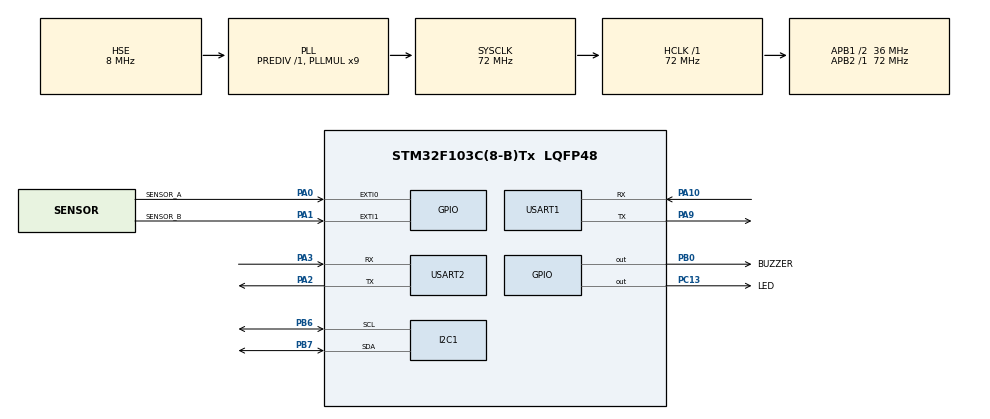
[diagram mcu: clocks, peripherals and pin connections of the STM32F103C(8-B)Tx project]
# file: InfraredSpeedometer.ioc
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FREERTOS.INCLUDE_xTaskGetCurrentTaskHandle=1
FREERTOS.Tasks01=defaultTask,24,128,StartDefaultTask,Default,NULL,Dynamic,NULL,NULL
FREERTOS.configTOTAL_HEAP_SIZE=5120
I2C1.I2C_Mode=I2C_Standard
Mcu.Family=STM32F1
Mcu.Name=STM32F103C(8-B)Tx
Mcu.Package=LQFP48
NVIC.EXTI0_IRQn=true\:5\:0\:false\:false\:true\:true\:true\:true\:true
NVIC.EXTI1_IRQn=true\:5\:0\:false\:false\:true\:true\:true\:true\:true
NVIC.PriorityGroup=NVIC_PRIORITYGROUP_4
NVIC.TIM2_IRQn=true\:6\:0\:true\:false\:true\:true\:true\:true\:true
NVIC.TIM4_IRQn=true\:15\:0\:false\:false\:true\:false\:false\:true\:true
NVIC.TimeBase=TIM4_IRQn
NVIC.TimeBaseIP=TIM4
NVIC.USART1_IRQn=true\:7\:0\:true\:false\:true\:true\:true\:true\:true
NVIC.USART2_IRQn=true\:6\:0\:true\:false\:true\:true\:true\:true\:true
PA0-WKUP.GPIO_Label=SENSOR_A
PA0-WKUP.GPIO_ModeDefaultEXTI=GPIO_MODE_IT_FALLING
PA0-WKUP.GPIO_PuPd=GPIO_PULLUP
PA0-WKUP.Signal=GPXTI0
PA1.GPIO_Label=SENSOR_B
PA1.GPIO_ModeDefaultEXTI=GPIO_MODE_IT_FALLING
PA1.GPIO_PuPd=GPIO_PULLUP
PA1.Signal=GPXTI1
PA10.Mode=Asynchronous
PA10.Signal=USART1_RX
PA13.Mode=Serial_Wire
PA13.Signal=SYS_JTMS-SWDIO
PA14.Mode=Serial_Wire
PA14.Signal=SYS_JTCK-SWCLK
PA2.Mode=Asynchronous
PA2.Signal=USART2_TX
PA3.Mode=Asynchronous
PA3.Signal=USART2_RX
PA9.Mode=Asynchronous
PA9.Signal=USART1_TX
PB0.GPIO_Label=BUZZER
PB0.GPIO_ModeDefaultOutputPP=GPIO_MODE_OUTPUT_PP
PB0.Signal=GPIO_Output
PB6.Mode=I2C
PB6.Signal=I2C1_SCL
PB7.Mode=I2C
PB7.Signal=I2C1_SDA
PC13-TAMPER-RTC.GPIO_Label=LED
PC13-TAMPER-RTC.PinState=GPIO_PIN_SET
PC13-TAMPER-RTC.Signal=GPIO_Output
PD0-OSC_IN.Mode=HSE-External-Oscillator
PD0-OSC_IN.Signal=RCC_OSC_IN
PD1-OSC_OUT.Mode=HSE-External-Oscillator
PD1-OSC_OUT.Signal=RCC_OSC_OUT
ProjectManager.HeapSize=0x200
ProjectManager.StackSize=0x400
ProjectManager.TargetToolchain=MDK-ARM V5
RCC.AHBFreq_Value=72000000
RCC.APB1CLKDivider=RCC_HCLK_DIV2
RCC.APB1Freq_Value=36000000
RCC.APB1TimFreq_Value=72000000
RCC.APB2Freq_Value=72000000
RCC.APB2TimFreq_Value=72000000
RCC.HCLKFreq_Value=72000000
RCC.PLLMUL=RCC_PLL_MUL9
RCC.PLLSourceVirtual=RCC_PLLSOURCE_HSE
RCC.SYSCLKFreq_VALUE=72000000
RCC.SYSCLKSource=RCC_SYSCLKSOURCE_PLLCLK
RCC.USBFreq_Value=72000000
TIM2.AutoReloadPreload=TIM_AUTORELOAD_PRELOAD_ENABLE
TIM2.Prescaler=71
USART1.VirtualMode=VM_ASYNC
USART2.VirtualMode=VM_ASYNC
VP_FREERTOS_VS_CMSIS_V2.Mode=CMSIS_V2
VP_SYS_VS_tim4.Mode=TIM4
VP_TIM2_VS_ClockSourceINT.Mode=Internal
board=custom

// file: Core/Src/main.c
/* USER CODE BEGIN Header */
/**
  ******************************************************************************
  * @file           : main.c
  * @brief          : Main program body
  ******************************************************************************
  * @attention
  *
  * Copyright (c) 2026 STMicroelectronics.
  * All rights reserved.
  *
  * This software is licensed under terms that can be found in the LICENSE file
  * in the root directory of this software component.
  * If no LICENSE file comes with this software, it is provided AS-IS.
  *
  ******************************************************************************
  */
/* USER CODE END Header */
#include "main.h"
#include "cmsis_os.h"
#include "i2c.h"
#include "tim.h"
#include "usart.h"
#include "gpio.h"

/* USER CODE BEGIN Includes */
#include "speed.h"
#include "oled.h"
#include "esp8266.h"
#include "queue.h"
#include <stdio.h>
#include <string.h>
/* USER CODE END Includes */

/* USER CODE BEGIN PD */
#define USE_ESP8266       /* 已加传感器串联电阻，BOR问题解决后开�? */
#define SPEED_LIMIT_MS    0.6f   /* 超�?�阈值：0.6 m/s */
/* USER CODE END PD */

/* USER CODE BEGIN PV */
char uart_buf[100];
uint8_t esp8266_enabled = 0;
uint8_t uart2_rx_byte;
uint8_t mqtt_fail_count = 0;
static char reset_cause_str[32];  /* 启动时记录的复位原因 */
static uint32_t last_mqtt_activity = 0;    /* 上次MQTT发�?�时间，用于keepalive */
static uint32_t last_reconnect_time = 0;   /* 上次主动重连发起时间，用于冷却限�? */
/* USER CODE END PV */

void SystemClock_Config(void);
void MX_FREERTOS_Init(void);

int main(void)
{
  /* USER CODE BEGIN 1 */
  /* ====== 复位原因诊断（必须在HAL_Init前读取，否则标志被清除） ====== */
  if (__HAL_RCC_GET_FLAG(RCC_FLAG_PORRST))
    strcpy(reset_cause_str, "POR/BOR Reset");      /* 上电或欠压复�? */
  else if (__HAL_RCC_GET_FLAG(RCC_FLAG_PINRST))
    strcpy(reset_cause_str, "NRST Pin Reset");
  else if (__HAL_RCC_GET_FLAG(RCC_FLAG_SFTRST))
    strcpy(reset_cause_str, "Software Reset");
  else if (__HAL_RCC_GET_FLAG(RCC_FLAG_IWDGRST))
    strcpy(reset_cause_str, "IWDG Watchdog");
  else if (__HAL_RCC_GET_FLAG(RCC_FLAG_WWDGRST))
    strcpy(reset_cause_str, "WWDG Watchdog");
  else if (__HAL_RCC_GET_FLAG(RCC_FLAG_LPWRRST))
    strcpy(reset_cause_str, "Low-Power Reset");
  else
    strcpy(reset_cause_str, "Unknown");
  __HAL_RCC_CLEAR_RESET_FLAGS();
  /* USER CODE END 1 */

  /* MCU Configuration--------------------------------------------------------*/

  /* Reset of all peripherals, Initializes the Flash interface and the Systick. */
  HAL_Init();

  /* Configure the system clock */
  SystemClock_Config();

  /* Initialize all configured peripherals */
  MX_GPIO_Init();
  MX_I2C1_Init();
  MX_TIM2_Init();
  MX_USART1_UART_Init();
  MX_USART2_UART_Init();
  /* USER CODE BEGIN 2 */
	  HAL_Delay(500);

    /* ====== 速度模块初始�? ====== */
    Speed_Init();

  /* 初始化OLED（内部自动检测I2C地址 0x3C/0x3D�? */
  OLED_Init();

  /* 发�?�启动信息（含复位原因，用于诊断异常重启�? */
  sprintf(uart_buf, "\r\n=== Infrared Speedometer Started ===\r\n");
  HAL_UART_Transmit(&huart1, (uint8_t*)uart_buf, strlen(uart_buf), 100);
  sprintf(uart_buf, "Reset cause: %s\r\n", reset_cause_str);
  HAL_UART_Transmit(&huart1, (uint8_t*)uart_buf, strlen(uart_buf), 100);

  if (OLED_IsReady())
  {
    sprintf(uart_buf, "OLED: Found OK\r\n");
  }
  else
  {
    sprintf(uart_buf, "OLED: Not found (check wiring/power)\r\n");
  }
  HAL_UART_Transmit(&huart1, (uint8_t*)uart_buf, strlen(uart_buf), 100);

  sprintf(uart_buf, "Sensor Distance: %d mm\r\n", SENSOR_DISTANCE_MM);
  HAL_UART_Transmit(&huart1, (uint8_t*)uart_buf, strlen(uart_buf), 100);

  /* 初始化ESP8266，并在OLED实时显示状�?? */
  #ifdef USE_ESP8266
  /* 启动UART2接收中断 */
  HAL_UART_Receive_IT(&huart2, &uart2_rx_byte, 1);

  /* OLED：显示初始化进度框架 */
  OLED_Clear();
  OLED_ShowString(0, 0,  "IR Speedometer", OLED_FONT_8X16);
  OLED_ShowString(0, 20, "ESP: Init...  ", OLED_FONT_6X8);
  OLED_ShowString(0, 30, "WiFi: ---     ", OLED_FONT_6X8);
  OLED_ShowString(0, 40, "MQTT: ---     ", OLED_FONT_6X8);
  OLED_Refresh();

  sprintf(uart_buf, "\r\n=== Initializing ESP8266 ===\r\n");
  HAL_UART_Transmit(&huart1, (uint8_t*)uart_buf, strlen(uart_buf), 100);

  ESP8266_Status_t esp_status = ESP8266_Init();

  if (esp_status == ESP8266_OK)
  {
    OLED_ShowString(0, 20, "ESP: OK       ", OLED_FONT_6X8);
    OLED_ShowString(0, 30, "WiFi: Conn... ", OLED_FONT_6X8);
    OLED_Refresh();

    sprintf(uart_buf, "ESP8266 OK, connecting WiFi...\r\n");
    HAL_UART_Transmit(&huart1, (uint8_t*)uart_buf, strlen(uart_buf), 100);

    /* WiFi连接�?多重�?3次（热点响应慢时给更多机会） */
    {
      uint8_t wifi_try;
      for (wifi_try = 0; wifi_try < 3; wifi_try++)
      {
        if (wifi_try > 0)
        {
          sprintf(uart_buf, "WiFi retry %d/3...\r\n", wifi_try + 1);
          HAL_UART_Transmit(&huart1, (uint8_t*)uart_buf, strlen(uart_buf), 100);
          OLED_ShowString(0, 30, "WiFi: Retry...", OLED_FONT_6X8);
          OLED_Refresh();
          HAL_Delay(2000);
        }
        if (ESP8266_ConnectWiFi(WIFI_SSID, WIFI_PASSWORD) == ESP8266_OK) break;
      }
    }
    if (g_esp8266.wifi_status == WIFI_GOT_IP)
    {
      OLED_ShowString(0, 30, "WiFi: OK      ", OLED_FONT_6X8);
      OLED_ShowString(0, 40, "MQTT: Conn... ", OLED_FONT_6X8);
      OLED_Refresh();

      sprintf(uart_buf, "WiFi OK, configuring MQTT...\r\n");
      HAL_UART_Transmit(&huart1, (uint8_t*)uart_buf, strlen(uart_buf), 100);

      sprintf(uart_buf, "MQTT Config...\r\n");
      HAL_UART_Transmit(&huart1, (uint8_t*)uart_buf, strlen(uart_buf), 100);

      /* MQTT配置失败后无条件复位：AT+MQTTUSERCFG超时会破坏MQTT内部状�?�机�?
       * 仅靠AT测试无法�?测，必须RST清除后重连WiFi再重�? */
      {
        ESP8266_Status_t cfg_st = ESP8266_MQTTConfig();
        if (cfg_st != ESP8266_OK)
        {
          sprintf(uart_buf, "MQTT Config failed, resetting ESP8266...\r\n");
          HAL_UART_Transmit(&huart1, (uint8_t*)uart_buf, strlen(uart_buf), 100);
          ESP8266_Reset();          /* AT+RST + 内部等待3s */
          HAL_Delay(2000);          /* 额外等待模块稳定 */
          ESP8266_SendCmd("ATE0", "OK", 1000);
          ESP8266_ConnectWiFi(WIFI_SSID, WIFI_PASSWORD); /* WiFi复位后需重连 */
          sprintf(uart_buf, "MQTT Config retry...\r\n");
          HAL_UART_Transmit(&huart1, (uint8_t*)uart_buf, strlen(uart_buf), 100);
          cfg_st = ESP8266_MQTTConfig();
        }
        if (cfg_st == ESP8266_OK)
      {
        sprintf(uart_buf, "MQTT Config OK, connecting...\r\n");
        HAL_UART_Transmit(&huart1, (uint8_t*)uart_buf, strlen(uart_buf), 100);
        HAL_Delay(300); /* 等待MQTT config的UART响应全部到达，避免污染下�?条命令的缓冲�? */

        /* MQTT connect�?多重�?2次：WiFi刚连上时网络栈未稳定，ERROR后等3s重试 */
        {
          ESP8266_Status_t conn_st = ESP8266_MQTTConnect();
          if (conn_st != ESP8266_OK)
          {
            sprintf(uart_buf, "MQTT connect retry (network stabilizing)...\r\n");
            HAL_UART_Transmit(&huart1, (uint8_t*)uart_buf, strlen(uart_buf), 100);
            HAL_Delay(3000);
            conn_st = ESP8266_MQTTConnect();
          }

        if (conn_st == ESP8266_OK)
        {
          OLED_ShowString(0, 40, "MQTT: OK      ", OLED_FONT_6X8);
          OLED_ShowString(0, 52, "OneNET Ready! ", OLED_FONT_6X8);
          OLED_Refresh();

          sprintf(uart_buf, "OneNET MQTT Connected!\r\n\r\n");
          HAL_UART_Transmit(&huart1, (uint8_t*)uart_buf, strlen(uart_buf), 100);
          esp8266_enabled = 1;
          last_mqtt_activity = HAL_GetTick(); /* 从连接时刻开始计算心跳超�? */

          /* 立即发一条心跳，防止broker因idle超时断连 */
          {
            char ping_payload[128];
            snprintf(ping_payload, sizeof(ping_payload),
                     "{\"id\":\"1\",\"version\":\"1.0\",\"params\":{\"speed_kmh\":{\"value\":0},\"speed_ms\":{\"value\":0},\"time_us\":{\"value\":0}}}");
            ESP8266_MQTTPublish(MQTT_TOPIC_PROPERTY, ping_payload);
            /* ping失败不代表连接断�?（broker可能拒绝初始消息），恢复标志避免误触发重�? */
            g_esp8266.mqtt_connected = 1;
            last_mqtt_activity = HAL_GetTick();
          }
        }
        else
        {
          /* MQTT连接失败（broker暂不可达），但WiFi正常�?
           * 不进本地模式，主循环的fail_count机制会自动重连MQTT�? */
          OLED_ShowString(0, 40, "MQTT: retry.. ", OLED_FONT_6X8);
          OLED_ShowString(0, 52, "WiFi OK       ", OLED_FONT_6X8);
          OLED_Refresh();
          sprintf(uart_buf, "MQTT connect failed, main loop will retry\r\n");
          HAL_UART_Transmit(&huart1, (uint8_t*)uart_buf, strlen(uart_buf), 100);
          esp8266_enabled = 1; /* WiFi已连，主循环负责MQTT重连 */
          last_mqtt_activity = HAL_GetTick(); /* 防止心跳在第�?次主循环迭代就立即触�? */
        }
        } /* end conn_st block */
      }
      else
      {
        OLED_ShowString(0, 40, "MQTT: CFG ERR ", OLED_FONT_6X8);
        OLED_ShowString(0, 52, "Local mode    ", OLED_FONT_6X8);
        OLED_Refresh();
        sprintf(uart_buf, "MQTT config failed (token too long?)\r\n\r\n");
        HAL_UART_Transmit(&huart1, (uint8_t*)uart_buf, strlen(uart_buf), 100);
      }
      } /* end cfg_st block */
    }
    else
    {
      OLED_ShowString(0, 30, "WiFi: FAILED  ", OLED_FONT_6X8);
      OLED_ShowString(0, 52, "Local mode    ", OLED_FONT_6X8);
      OLED_Refresh();
      sprintf(uart_buf, "WiFi failed, local mode\r\n\r\n");
      HAL_UART_Transmit(&huart1, (uint8_t*)uart_buf, strlen(uart_buf), 100);
    }
  }
  else
  {
    OLED_ShowString(0, 20, "ESP: FAILED   ", OLED_FONT_6X8);
    OLED_ShowString(0, 52, "Local mode    ", OLED_FONT_6X8);
    OLED_Refresh();
    sprintf(uart_buf, "ESP8266 failed, local mode\r\n\r\n");
    HAL_UART_Transmit(&huart1, (uint8_t*)uart_buf, strlen(uart_buf), 100);
  }

  /* 若未成功联网，关闭ESP8266的WiFi射频，防止后台扫描产生电流峰值导致欠压复�? */
  if (!esp8266_enabled)
  {
    ESP8266_SendCmd("AT+CWMODE=0", "OK", 2000);
    sprintf(uart_buf, "ESP8266 RF off (local mode)\r\n");
    HAL_UART_Transmit(&huart1, (uint8_t*)uart_buf, strlen(uart_buf), 100);
  }

  /* 显示2秒状态后切换到待机界�? */
  HAL_Delay(2000);
  #endif

  /* OLED显示待机界面（含云端状�?�） */
  OLED_Clear();
  OLED_ShowString(0, 0, "IR Speedometer", OLED_FONT_8X16);
  OLED_ShowString(0, 20, "Dist:", OLED_FONT_6X8);
  OLED_ShowNum(30, 20, SENSOR_DISTANCE_MM, 3, OLED_FONT_6X8);
  OLED_ShowString(48, 20, "mm", OLED_FONT_6X8);
  OLED_ShowString(0, 30, "Waiting...", OLED_FONT_8X16);
  { char _bs[12]; sprintf(_bs, "Buf:0/%d   ", SPEED_MEDIAN_N); OLED_ShowString(0, 47, _bs, OLED_FONT_6X8); }  /* 中�?�滤波进�? (y=47: 8x16字体在y=30结束于y=45，留2px间距) */
  #ifdef USE_ESP8266
  if (esp8266_enabled)
    OLED_ShowString(0, 55, "Cloud:ON ", OLED_FONT_6X8);
  else
    OLED_ShowString(0, 55, "Cloud:OFF", OLED_FONT_6X8);
  #endif
  OLED_Refresh();

  sprintf(uart_buf, "Waiting for object...\r\n\r\n");
  HAL_UART_Transmit(&huart1, (uint8_t*)uart_buf, strlen(uart_buf), 100);

  /* USER CODE END 2 */

  /* Init scheduler */
  osKernelInitialize();  /* Call init function for freertos objects (in freertos.c) */
  MX_FREERTOS_Init();

  /* Start scheduler */
  osKernelStart();
  /* We should never get here as control is now taken by the scheduler */
  /* Infinite loop */
  while (1)
  {

    /* USER CODE BEGIN 3 */

    /* 速度计算移至主循环（避免在ISR中做浮点运算导致电流尖峰�? */
    if (g_speed_data.state == SPEED_COMPLETED)
    {
      Speed_Calculate();

      /* 中�?�滤波缓冲未满时（第1/2次），在OLED和串口给出进度提�? */
      if (!Speed_IsNewData() && g_speed_data.median_count > 0)
      {
        char cnt_str[16];
        sprintf(cnt_str, "Buf:%d/%d   ", g_speed_data.median_count, SPEED_MEDIAN_N);
        OLED_ShowString(0, 47, cnt_str, OLED_FONT_6X8);
        OLED_Refresh();
        sprintf(uart_buf, "[Median] sample %d/%d buffered\r\n",
                g_speed_data.median_count, SPEED_MEDIAN_N);
        HAL_UART_Transmit(&huart1, (uint8_t*)uart_buf, strlen(uart_buf), 100);
      }
    }

    if (Speed_IsNewData())
    {
      /* �?查是否超�? */
      uint8_t is_overspeed = (Speed_GetMS() > SPEED_LIMIT_MS);

      /* 蜂鸣器提示（低电平有效） */
      if (is_overspeed) {
        /* 超�?�：长鸣500ms */
        HAL_GPIO_WritePin(BUZZER_GPIO_Port, BUZZER_Pin, GPIO_PIN_RESET);
        HAL_Delay(500);
        HAL_GPIO_WritePin(BUZZER_GPIO_Port, BUZZER_Pin, GPIO_PIN_SET);
      } else {
        /* 正常：短�?100ms */
        HAL_GPIO_WritePin(BUZZER_GPIO_Port, BUZZER_Pin, GPIO_PIN_RESET);
        HAL_Delay(100);
        HAL_GPIO_WritePin(BUZZER_GPIO_Port, BUZZER_Pin, GPIO_PIN_SET);
      }

      /* OLED显示测�?�结�? */

      OLED_Clear();

      /* 超�?�显示警�? */
      if (is_overspeed) {
        OLED_ShowString(0, 0, "OVERSPEED!", OLED_FONT_8X16);
      } else {
        OLED_ShowString(0, 0, "Speed Result", OLED_FONT_8X16);
      }

      /* 显示 m/s (y=20, 占用�? 20-35) */
      OLED_ShowString(0, 20, "m/s:", OLED_FONT_8X16);
      OLED_ShowFloat(40, 20, Speed_GetMS(), 2, 2, OLED_FONT_8X16);

      /* 显示 km/h (y=40, 占用�? 40-55) */
      OLED_ShowString(0, 40, "km/h:", OLED_FONT_8X16);
      OLED_ShowFloat(48, 40, Speed_GetKMH(), 2, 2, OLED_FONT_8X16);

      /* 云端上传状�?�占�? (y=56, 占用�? 56-63) */
      #ifdef USE_ESP8266
      if (esp8266_enabled)
        OLED_ShowString(0, 56, "Cloud:...  ", OLED_FONT_6X8);
      else
        OLED_ShowString(0, 56, "Cloud:OFF  ", OLED_FONT_6X8);
      #endif

      OLED_Refresh();

      /* 串口输出结果�?? */
      sprintf(uart_buf, "--- Speed Measured (median of %d) ---\r\n", SPEED_MEDIAN_N);
      HAL_UART_Transmit(&huart1, (uint8_t*)uart_buf, strlen(uart_buf), 100);

      /* time_diff = �?3次原始采样的时间差，仅供参�?�，速度为中值结�? */
      sprintf(uart_buf, "LastRaw: %lu us\r\n", g_speed_data.time_diff);
      HAL_UART_Transmit(&huart1, (uint8_t*)uart_buf, strlen(uart_buf), 100);

      sprintf(uart_buf, "Speed(median): %.2f m/s\r\n", Speed_GetMS());
      HAL_UART_Transmit(&huart1, (uint8_t*)uart_buf, strlen(uart_buf), 100);

      sprintf(uart_buf, "Speed(median): %.2f km/h\r\n", Speed_GetKMH());
      HAL_UART_Transmit(&huart1, (uint8_t*)uart_buf, strlen(uart_buf), 100);

      /* 超�?�标�? */
      if (is_overspeed) {
        sprintf(uart_buf, "*** OVERSPEED! Limit: %.2f m/s ***\r\n\r\n", SPEED_LIMIT_MS);
        HAL_UART_Transmit(&huart1, (uint8_t*)uart_buf, strlen(uart_buf), 100);
      } else {
        sprintf(uart_buf, "\r\n");
        HAL_UART_Transmit(&huart1, (uint8_t*)uart_buf, strlen(uart_buf), 100);
      }

      /* 上传数据到OneNET �? 每次发布前重建连�?
       * 原理：OneNET收到数据后会关闭TCP连接，因此每次用新连接发送（参�?�CSDN方案�?
       * reconnect=0已关闭自动重连，由此处代码统�?管理重连时机 */
      #ifdef USE_ESP8266
      if (esp8266_enabled)
      {
        char json_payload[200];
        uint8_t upload_ok = 0;
        uint8_t conn_ok   = 0;
        uint8_t conn_try;

        /* 先清理旧连接，等待ESP8266和broker完全断开（避免broker限�?�） */
        ESP8266_SendCmd("AT+MQTTDISCONN=0", "OK", 2000);
        ESP8266_SendCmd("AT+MQTTCLEAN=0",   "OK", 2000);
        HAL_Delay(3000);  /* 等待3秒，让broker释放旧会�? */

        /* 重建MQTT连接（MQTTConfig内部含DISCONNECT+CLEAN，最多尝�?2次） */
        for (conn_try = 0; conn_try < 2; conn_try++)
        {
          if (ESP8266_MQTTConfig() == ESP8266_OK)
          {
            HAL_Delay(300);
            if (ESP8266_MQTTConnect() == ESP8266_OK)
            {
              conn_ok = 1;
              break;
            }
          }
          sprintf(uart_buf, "MQTT connect retry %d/2...\r\n", conn_try + 1);
          HAL_UART_Transmit(&huart1, (uint8_t*)uart_buf, strlen(uart_buf), 100);
          HAL_Delay(2000);
        }

        if (conn_ok)
        {
          /* 物模型属性上报（OneNET控制台显示） */
          snprintf(json_payload, sizeof(json_payload),
                  "{\"id\":\"1\",\"version\":\"1.0\",\"params\":{\"speed_kmh\":{\"value\":%.2f},\"speed_ms\":{\"value\":%.2f},\"time_us\":{\"value\":%lu}}}",
                  Speed_GetKMH(), Speed_GetMS(), g_speed_data.time_diff);

          if (ESP8266_MQTTPublish(MQTT_TOPIC_PROPERTY, json_payload) == ESP8266_OK)
          {
            upload_ok = 1;
            last_mqtt_activity = HAL_GetTick();
            sprintf(uart_buf, "Property uploaded to OneNET\r\n");
            HAL_UART_Transmit(&huart1, (uint8_t*)uart_buf, strlen(uart_buf), 100);

            /* 旧版数据流上报（历史记录兼容�? */
            snprintf(json_payload, sizeof(json_payload),
                    "{\"id\":1,\"dp\":{\"speed_kmh\":[{\"v\":%.2f}],\"speed_ms\":[{\"v\":%.2f}],\"time_us\":[{\"v\":%lu}]}}",
                    Speed_GetKMH(), Speed_GetMS(), g_speed_data.time_diff);
            ESP8266_MQTTPublish(MQTT_TOPIC, json_payload);
            g_esp8266.mqtt_connected = 1;
          }
        }

        if (upload_ok)
        {
          OLED_ShowString(0, 56, "Cloud:OK   ", OLED_FONT_6X8);
          OLED_Refresh();
          sprintf(uart_buf, "Data uploaded to OneNET\r\n");
          HAL_UART_Transmit(&huart1, (uint8_t*)uart_buf, strlen(uart_buf), 100);
        }
        else
        {
          OLED_ShowString(0, 56, "Cloud:FAIL ", OLED_FONT_6X8);
          OLED_Refresh();
          sprintf(uart_buf, "Upload failed\r\n");
          HAL_UART_Transmit(&huart1, (uint8_t*)uart_buf, strlen(uart_buf), 100);
        }

      }
      #endif

      /* 立即清除新数据标志，允许传感器开始下�?次测�? */
      Speed_ClearNewData();

      /* 延时1秒后恢复待机界面 */
      HAL_Delay(2000);
      OLED_Clear();
      OLED_ShowString(0, 0, "IR Speedometer", OLED_FONT_8X16);
      OLED_ShowString(0, 20, "Dist:", OLED_FONT_6X8);
      OLED_ShowNum(30, 20, SENSOR_DISTANCE_MM, 3, OLED_FONT_6X8);
      OLED_ShowString(48, 20, "mm", OLED_FONT_6X8);
      OLED_ShowString(0, 30, "Waiting...", OLED_FONT_8X16);
      { char _bs[12]; sprintf(_bs, "Buf:0/%d   ", SPEED_MEDIAN_N); OLED_ShowString(0, 47, _bs, OLED_FONT_6X8); }  /* 中�?�滤波进度清�? */
      #ifdef USE_ESP8266
      if (esp8266_enabled)
        OLED_ShowString(0, 55, "Cloud:ON ", OLED_FONT_6X8);
      else
        OLED_ShowString(0, 55, "Cloud:OFF", OLED_FONT_6X8);
      #endif
      OLED_Refresh();
    }

    /* MQTT keepalive：超�?25秒没有发送任何数据，发一条心�?
     * 注：条件不依�? MQTTIsConnected()，因为初始ping失败会将 mqtt_connected 清零�?
     * 导致心跳永远不触发，broker随即idle超时踢掉连接�?
     * 此处先调�? CheckConn 同步实际状�?�（支持auto-reconnect），再决定是否发心跳�?*/
    #ifdef USE_ESP8266
    if (esp8266_enabled && (HAL_GetTick() - last_mqtt_activity) >= 15000)
    {
      last_mqtt_activity = HAL_GetTick(); /* 先更新，避免CheckConn/Publish耗时期间反复触发 */
      if (!ESP8266_MQTTIsConnected())
        ESP8266_MQTTCheckConn(); /* 查询实际状�?�，处理auto-reconnect场景 */
      if (ESP8266_MQTTIsConnected())
      {
        char ping_buf[128];
        snprintf(ping_buf, sizeof(ping_buf),
                 "{\"id\":\"1\",\"version\":\"1.0\",\"params\":{\"speed_kmh\":{\"value\":0},\"speed_ms\":{\"value\":0},\"time_us\":{\"value\":0}}}");
        ESP8266_MQTTPublish(MQTT_TOPIC_PROPERTY, ping_buf);
      }
    }
    #endif

    HAL_Delay(10);
  }
  /* USER CODE END 3 */
}

void SystemClock_Config(void)
{
  RCC_OscInitTypeDef RCC_OscInitStruct = {0};
  RCC_ClkInitTypeDef RCC_ClkInitStruct = {0};

  /** Initializes the RCC Oscillators according to the specified parameters
  * in the RCC_OscInitTypeDef structure.
  */
  RCC_OscInitStruct.OscillatorType = RCC_OSCILLATORTYPE_HSE;
  RCC_OscInitStruct.HSEState = RCC_HSE_ON;
  RCC_OscInitStruct.HSEPredivValue = RCC_HSE_PREDIV_DIV1;
  RCC_OscInitStruct.HSIState = RCC_HSI_ON;
  RCC_OscInitStruct.PLL.PLLState = RCC_PLL_ON;
  RCC_OscInitStruct.PLL.PLLSource = RCC_PLLSOURCE_HSE;
  RCC_OscInitStruct.PLL.PLLMUL = RCC_PLL_MUL9;
  if (HAL_RCC_OscConfig(&RCC_OscInitStruct) != HAL_OK)
  {
    Error_Handler();
  }

  /** Initializes the CPU, AHB and APB buses clocks
  */
  RCC_ClkInitStruct.ClockType = RCC_CLOCKTYPE_HCLK|RCC_CLOCKTYPE_SYSCLK
                              |RCC_CLOCKTYPE_PCLK1|RCC_CLOCKTYPE_PCLK2;
  RCC_ClkInitStruct.SYSCLKSource = RCC_SYSCLKSOURCE_PLLCLK;
  RCC_ClkInitStruct.AHBCLKDivider = RCC_SYSCLK_DIV1;
  RCC_ClkInitStruct.APB1CLKDivider = RCC_HCLK_DIV2;
  RCC_ClkInitStruct.APB2CLKDivider = RCC_HCLK_DIV1;

  if (HAL_RCC_ClockConfig(&RCC_ClkInitStruct, FLASH_LATENCY_2) != HAL_OK)
  {
    Error_Handler();
  }
}

/* USER CODE BEGIN 4 */

/**
  * @brief  GPIO外部中断回调函数
  */
void HAL_GPIO_EXTI_Callback(uint16_t GPIO_Pin)
{
  if (GPIO_Pin == SENSOR_A_Pin)
  {
    Speed_SensorA_Trigger();
  }
  else if (GPIO_Pin == SENSOR_B_Pin)
  {
    Speed_SensorB_Trigger();

    /* Day 3：ISR 里往队列发消息，通知 Task_Speed 处理 */
    extern QueueHandle_t speedEventQueue;
    uint8_t evt = 1;
    BaseType_t xHigherPriorityTaskWoken = pdFALSE;
    xQueueSendFromISR(speedEventQueue, &evt, &xHigherPriorityTaskWoken);
    portYIELD_FROM_ISR(xHigherPriorityTaskWoken);
  }
}

/**
  * @brief  定时器溢出回调函�??
  */

/**
  * @brief  UART接收完成回调函数
  */
#ifdef USE_ESP8266
void HAL_UART_RxCpltCallback(UART_HandleTypeDef *huart)
{
  if (huart->Instance == USART2)
  {
    ESP8266_RxCallback(uart2_rx_byte);
    HAL_UART_Receive_IT(&huart2, &uart2_rx_byte, 1);
  }
}
#endif
/* USER CODE END 4 */

void HAL_TIM_PeriodElapsedCallback(TIM_HandleTypeDef *htim)
{
  if (htim->Instance == TIM4) {
    HAL_IncTick();
  }
}

void Error_Handler(void)
{
  __disable_irq();
  while (1)
  {
  }
}

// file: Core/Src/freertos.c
/* USER CODE BEGIN Header */
/**
  ******************************************************************************
  * File Name          : freertos.c
  * Description        : Code for freertos applications
  ******************************************************************************
  * @attention
  *
  * Copyright (c) 2026 STMicroelectronics.
  * All rights reserved.
  *
  * This software is licensed under terms that can be found in the LICENSE file
  * in the root directory of this software component.
  * If no LICENSE file comes with this software, it is provided AS-IS.
  *
  ******************************************************************************
  */
/* USER CODE END Header */

#include "FreeRTOS.h"
#include "task.h"
#include "main.h"
#include "cmsis_os.h"

/* USER CODE BEGIN Includes */
#include "usart.h"
#include "speed.h"
#include "oled.h"
#include "esp8266.h"
#include "queue.h"
#include "semphr.h"
#include <stdio.h>
#include <string.h>
/* USER CODE END Includes */

/* USER CODE BEGIN PTD */
/* 测速结果结构体：Task_Speed 计算完后放进队列传给 Display 和 Cloud */
typedef struct {
  float    speed_ms;
  float    speed_kmh;
  uint32_t time_us;
} SpeedResult_t;
/* USER CODE END PTD */

/* USER CODE BEGIN Variables */
QueueHandle_t speedEventQueue;   /* ISR → Task_Speed */
QueueHandle_t display_queue;     /* Task_Speed → Task_Display */
QueueHandle_t cloud_queue;       /* Task_Speed → Task_Cloud */
SemaphoreHandle_t uart1_mutex;   /* 保护 UART1 */
/* USER CODE END Variables */
/* Definitions for defaultTask */
osThreadId_t defaultTaskHandle;
const osThreadAttr_t defaultTask_attributes = {
  .name = "defaultTask",
  .stack_size = 128 * 4,
  .priority = (osPriority_t) osPriorityNormal,
};

/* USER CODE BEGIN FunctionPrototypes */
void Task_Speed(void *argument);
void Task_Display(void *argument);
void Task_Cloud(void *argument);
void Task_Heartbeat(void *argument);
/* USER CODE END FunctionPrototypes */

void StartDefaultTask(void *argument);

void MX_FREERTOS_Init(void); /* (MISRA C 2004 rule 8.1) */

void MX_FREERTOS_Init(void) {

  /* USER CODE BEGIN RTOS_MUTEX */
  uart1_mutex = xSemaphoreCreateMutex();
  /* USER CODE END RTOS_MUTEX */

  /* USER CODE BEGIN RTOS_QUEUES */
  speedEventQueue = xQueueCreate(5,  sizeof(uint8_t));
  display_queue   = xQueueCreate(3,  sizeof(SpeedResult_t));
  cloud_queue     = xQueueCreate(10, sizeof(SpeedResult_t));
  /* USER CODE END RTOS_QUEUES */

  /* Create the thread(s) */
  /* creation of defaultTask */
  defaultTaskHandle = osThreadNew(StartDefaultTask, NULL, &defaultTask_attributes);

  /* USER CODE BEGIN RTOS_THREADS */
  static const osThreadAttr_t speedTask_attr = {
    .name = "Task_Speed", .stack_size = 256*4,
    .priority = (osPriority_t)osPriorityHigh,
  };
  osThreadNew(Task_Speed, NULL, &speedTask_attr);

  static const osThreadAttr_t displayTask_attr = {
    .name = "Task_Display", .stack_size = 512*4,
    .priority = (osPriority_t)osPriorityAboveNormal,
  };
  osThreadNew(Task_Display, NULL, &displayTask_attr);

  static const osThreadAttr_t cloudTask_attr = {
    .name = "Task_Cloud", .stack_size = 512*4,
    .priority = (osPriority_t)osPriorityNormal,
  };
  osThreadNew(Task_Cloud, NULL, &cloudTask_attr);

  static const osThreadAttr_t heartbeatTask_attr = {
    .name = "Task_Heartbeat", .stack_size = 256*4,
    .priority = (osPriority_t)osPriorityLow,
  };
  osThreadNew(Task_Heartbeat, NULL, &heartbeatTask_attr);
  /* USER CODE END RTOS_THREADS */

}

void StartDefaultTask(void *argument)
{
  /* USER CODE BEGIN StartDefaultTask */
  /* 系统存活指示灯：LED 每 500ms 闪，表示调度器在跑 */
  for(;;)
  {
    HAL_GPIO_TogglePin(LED_GPIO_Port, LED_Pin);
    osDelay(500);
  }
  /* USER CODE END StartDefaultTask */
}

/* USER CODE BEGIN Application */

/* ========== Task_Speed：测速核心任务 ========== */
void Task_Speed(void *argument)
{
  uint8_t event;
  char buf[100];
  SpeedResult_t result;

  for(;;)
  {
    if (xQueueReceive(speedEventQueue, &event, portMAX_DELAY) == pdTRUE)
    {
      Speed_Calculate();

      if (Speed_IsNewData())
      {
        result.speed_ms  = Speed_GetMS();
        result.speed_kmh = Speed_GetKMH();
        result.time_us   = g_speed_data.time_diff;

        /* 往两个队列各发一份，Display 和 Cloud 各自收 */
        xQueueSend(display_queue, &result, 0);
        xQueueSend(cloud_queue,  &result, 0);

        /* 串口也打印一份（调试用） */
        snprintf(buf, sizeof(buf),
                 "[Speed] %.2f m/s, %.2f km/h, dt=%lu us\r\n",
                 result.speed_ms, result.speed_kmh,
                 (unsigned long)result.time_us);
        xSemaphoreTake(uart1_mutex, portMAX_DELAY);
        HAL_UART_Transmit(&huart1, (uint8_t*)buf, strlen(buf), 100);
        xSemaphoreGive(uart1_mutex);

        Speed_ClearNewData();
      }
    }
  }
}

/* ========== Task_Display：OLED 显示任务 ========== */
void Task_Display(void *argument)
{
  SpeedResult_t result;

  /* 上电显示待机界面 */
  if (OLED_IsReady())
  {
    OLED_Clear();
    OLED_ShowString(0, 0, "IR Speedometer", OLED_FONT_8X16);
    OLED_ShowString(0, 40, "Waiting...", OLED_FONT_8X16);
    OLED_Refresh();
  }

  for(;;)
  {
    /* 等 Task_Speed 发来速度结果（阻塞） */
    if (xQueueReceive(display_queue, &result, portMAX_DELAY) == pdTRUE)
    {
      if (OLED_IsReady())
      {
        OLED_Clear();
        OLED_ShowString(0, 0, "Speed Result", OLED_FONT_8X16);
        OLED_ShowString(0, 20, "m/s:", OLED_FONT_8X16);
        OLED_ShowFloat(40, 20, result.speed_ms, 2, 2, OLED_FONT_8X16);
        OLED_ShowString(0, 40, "km/h:", OLED_FONT_8X16);
        OLED_ShowFloat(48, 40, result.speed_kmh, 2, 2, OLED_FONT_8X16);
        OLED_Refresh();
      }

      /* 显示 2 秒后恢复待机 */
      osDelay(2000);

      if (OLED_IsReady())
      {
        OLED_Clear();
        OLED_ShowString(0, 0, "IR Speedometer", OLED_FONT_8X16);
        OLED_ShowString(0, 40, "Waiting...", OLED_FONT_8X16);
        OLED_Refresh();
      }
    }
  }
}

/* ========== Task_Cloud：MQTT 上传任务 ========== */
void Task_Cloud(void *argument)
{
  SpeedResult_t result;
  char json[200];
  char buf[60];

  for(;;)
  {
    if (xQueueReceive(cloud_queue, &result, portMAX_DELAY) == pdTRUE)
    {
      if (g_esp8266.mqtt_connected)
      {
        snprintf(json, sizeof(json),
          "{\"id\":\"1\",\"version\":\"1.0\",\"params\":"
          "{\"speed_kmh\":{\"value\":%.2f},"
           "\"speed_ms\":{\"value\":%.2f},"
           "\"time_us\":{\"value\":%lu}}}",
          result.speed_kmh, result.speed_ms,
          (unsigned long)result.time_us);

        ESP8266_Status_t st = ESP8266_MQTTPublish(MQTT_TOPIC_PROPERTY, json);

        snprintf(buf, sizeof(buf), "[Cloud] %s\r\n",
                 (st == ESP8266_OK) ? "Published OK" : "Publish FAIL");
        xSemaphoreTake(uart1_mutex, portMAX_DELAY);
        HAL_UART_Transmit(&huart1, (uint8_t*)buf, strlen(buf), 100);
        xSemaphoreGive(uart1_mutex);
      }
    }
  }
}

/* ========== Task_Heartbeat：MQTT 心跳保活 ========== */
void Task_Heartbeat(void *argument)
{
  char ping[150];

  for(;;)
  {
    osDelay(15000);   /* 每 15 秒 */

    if (g_esp8266.mqtt_connected)
    {
      snprintf(ping, sizeof(ping),
        "{\"id\":\"1\",\"version\":\"1.0\",\"params\":"
        "{\"speed_kmh\":{\"value\":0},"
         "\"speed_ms\":{\"value\":0},"
         "\"time_us\":{\"value\":0}}}");
      ESP8266_MQTTPublish(MQTT_TOPIC_PROPERTY, ping);
    }
  }
}

/* USER CODE END Application */
